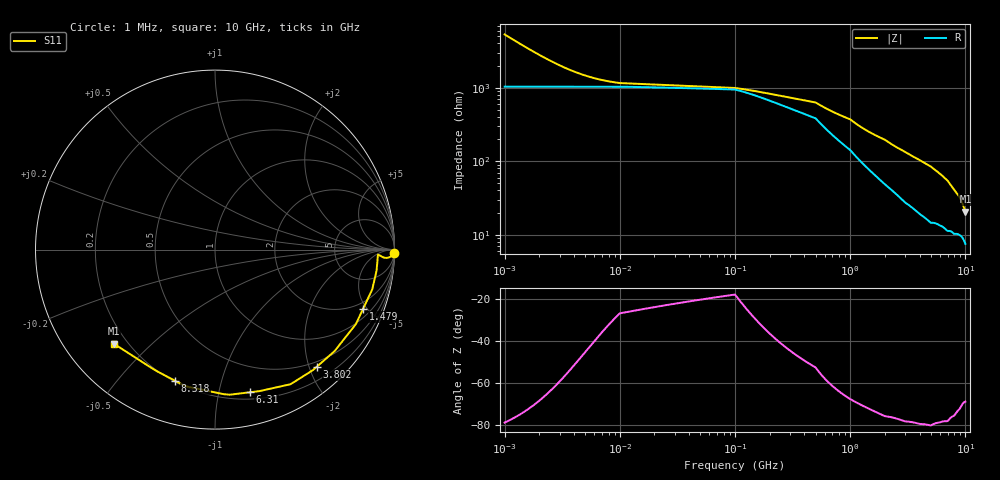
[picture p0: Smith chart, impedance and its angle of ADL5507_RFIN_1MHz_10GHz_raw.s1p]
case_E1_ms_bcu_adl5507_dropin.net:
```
# E (dropin): ADL5507 on ms, bcu
Pac:P1 n1 gnd Num="1" Z="50 Ohm" P="0 dBm" f="1e9"
SUBST:Sub1 er="4.5" h="1.44 mm" t="35 um" tand="0.02" rho="1.72e-8" D="0"
MLIN:PAD n1 a Subst="Sub1" W="0.8 mm" L="1.1 mm" Model="Hammerstad" DispModel="Kirschning" Temp="26.85"
MSTEP:S0 a a2 Subst="Sub1" W1="0.8 mm" W2="0.2032 mm" MSModel="Hammerstad" MSDispModel="Kirschning"
MLIN:L1 a2 r1a Subst="Sub1" W="0.2032 mm" L="0.65 mm" Model="Hammerstad" DispModel="Kirschning" Temp="26.85"
MSTEP:S1 r1a r1 Subst="Sub1" W1="0.2032 mm" W2="0.3 mm" MSModel="Hammerstad" MSDispModel="Kirschning"
MLIN:L2 r1 r2a Subst="Sub1" W="0.3 mm" L="1 mm" Model="Hammerstad" DispModel="Kirschning" Temp="26.85"
MSTEP:S2 r2a r2 Subst="Sub1" W1="0.3 mm" W2="0.2032 mm" MSModel="Hammerstad" MSDispModel="Kirschning"
MLIN:L3 r2 c1a Subst="Sub1" W="0.2032 mm" L="1.1 mm" Model="Hammerstad" DispModel="Kirschning" Temp="26.85"
C:C1 c1a c1m C="47 nF"
L:C1L c1m c1n L="0.25 nH"
R:C1R c1n c1b R="0.035 Ohm"
MLIN:L4 c1b inhi Subst="Sub1" W="0.1524 mm" L="1.68 mm" Model="Hammerstad" DispModel="Kirschning" Temp="26.85"
SPfile:CHIP inhi gnd File="ADL5507_RFIN_1MHz_10GHz_raw.s1p" Data="rectangular" Interpolator="linear" duringDC="open"
R:R1 r1 R1x R="100 Ohm" Temp="26.85"
L:R1L R1x gnd L="0.25 nH"
R:R2 r2 R2x R="100 Ohm" Temp="26.85"
L:R2L R2x gnd L="0.25 nH"
.SP:SP1 Type="log" Start="1e6" Stop="1e10" Points="401"
```
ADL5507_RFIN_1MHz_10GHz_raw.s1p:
! ADL5507 RFIN input reflection, variant 'raw', 1 MHz - 10 GHz (see adl5507_input_model.py)
! Data: ADL5507 Rev. 0 datasheet, Table 5, 10 MHz - 15 GHz; below 10 MHz extrapolated (series 25 pF coupling capacitor).
! 1-port: RFIN to ground (COMM). Reference impedance 50 ohm.
# HZ S RI R 50
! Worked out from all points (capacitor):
!   401 points, 1 MHz to 10 GHz, reference 50 ohm
!   read as one part to ground: C = 30.6 pF near 1.047 MHz
!   lowest |Z| = 20.7 ohm at 10 GHz (marker M1)
!   S11 on the Smith chart (normalised r, x): 1 MHz: open; 1.479 GHz: 1.50, -4.72; 3.802 GHz: 0.41, -2.13; 6.31 GHz: 0.26, -1.24; 8.318 GHz: 0.21, -0.72; 10 GHz: 0.15, -0.39
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1000000  0.9962 -0.0184
4365158  0.9582 -0.0459
2.187762e7  0.9192 -0.0333
1e8  0.908 -0.028
4.677351e8  0.9013 -0.1104
9.772372e8  0.8768 -0.2184
1.479108e9  0.8246 -0.331
2.089296e9  0.7722 -0.4313
3.801894e9  0.5664 -0.6533
5.011872e9  0.4188 -0.7505
6.309573e9  0.1926 -0.7952
7.24436e9  0.00961 -0.7974
8.317638e9  -0.2215 -0.7312
1e10  -0.564 -0.524
